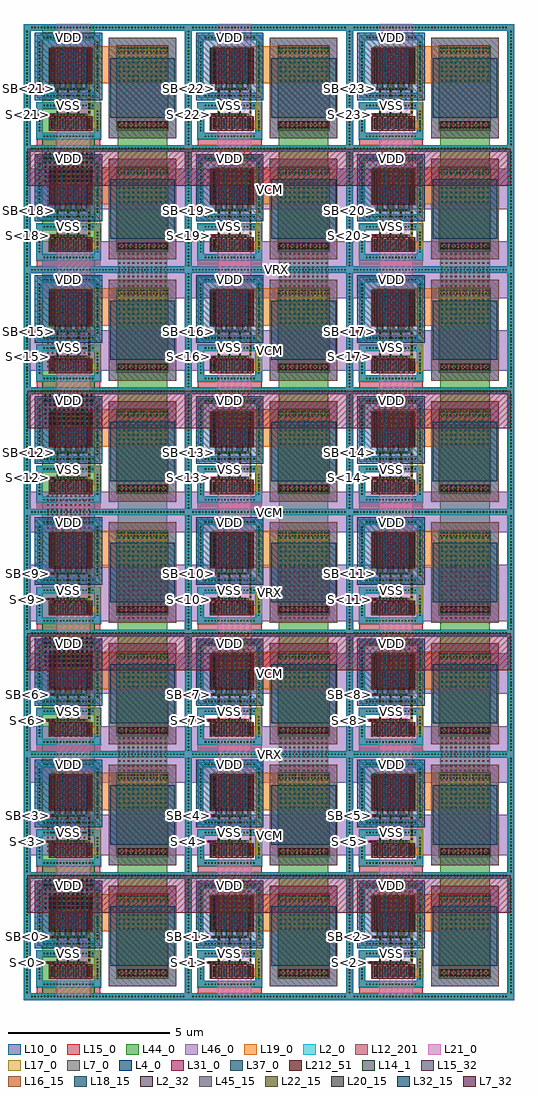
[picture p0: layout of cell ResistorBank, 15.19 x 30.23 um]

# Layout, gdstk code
import gdstk
lib = gdstk.Library(unit=1e-6, precision=1e-09)
def R(c, l, rs):  # rectangles x0, y0, x1, y1
    for r in rs: c.add(gdstk.rectangle(r[:2], r[2:], *l))
def A(c, l, x, y, w, h, nx, ny, dx, dy):  # array of equal rectangles
    R(c, l, [(x+i*dx, y+j*dy, x+i*dx+w, y+j*dy+h) for i in range(nx) for j in range(ny)])
L2_0 = (2, 0)
L2_32 = (2, 32)
L4_0 = (4, 0)
L7_0 = (7, 0)
L7_32 = (7, 32)
L10_0 = (10, 0)
L12_201 = (12, 201)
L14_1 = (14, 1)
L15_0 = (15, 0)
L15_32 = (15, 32)
L16_15 = (16, 15)
L17_0 = (17, 0)
L18_15 = (18, 15)
L19_0 = (19, 0)
L20_15 = (20, 15)
L21_0 = (21, 0)
L22_15 = (22, 15)
L31_0 = (31, 0)
L32_15 = (32, 15)
L37_0 = (37, 0)
L44_0 = (44, 0)
L45_15 = (45, 15)
L46_0 = (46, 0)
L212_51 = (212, 51)

nmosintransmissiongate = lib.new_cell('NMOSInTransmissionGate')
R(nmosintransmissiongate, L2_0, [(-0.602,-0.168,0.602,0.168)])
R(nmosintransmissiongate, L2_32, [(-0.602,-0.168,-0.517,0.168), (0.517,-0.168,0.602,0.168)])
A(nmosintransmissiongate, L7_0, -0.681, -0.225, 0.05, 0.45, 9, 1, 0.164, 0)
A(nmosintransmissiongate, L7_32, -0.517, -0.225, 0.05, 0.057, 7, 1, 0.164, 0)
A(nmosintransmissiongate, L14_1, -0.594, -0.12, 0.04, 0.04, 8, 3, 0.164, 0.1)
A(nmosintransmissiongate, L15_0, -0.599, -0.168, 0.05, 0.336, 8, 1, 0.164, 0)
A(nmosintransmissiongate, L15_32, -0.599, -0.168, 0.05, 0.336, 8, 1, 0.164, 0)
R(nmosintransmissiongate, L212_51, [(-0.656,-0.224,0.656,0.224)])

pmosintransmissiongate = lib.new_cell('PMOSInTransmissionGate')
R(pmosintransmissiongate, L2_0, [(-0.602,-0.504,0.602,0.504)])
R(pmosintransmissiongate, L2_32, [(-0.602,-0.504,-0.517,0.504), (0.517,-0.504,0.602,0.504)])
A(pmosintransmissiongate, L7_0, -0.681, -0.561, 0.05, 1.122, 9, 1, 0.164, 0)
A(pmosintransmissiongate, L7_32, -0.517, -0.561, 0.05, 0.057, 7, 1, 0.164, 0)
R(pmosintransmissiongate, L10_0, [(-0.658,-0.561,0.658,0.561)])
A(pmosintransmissiongate, L14_1, -0.594, -0.47, 0.04, 0.04, 8, 10, 0.164, 0.1)
A(pmosintransmissiongate, L15_0, -0.599, -0.504, 0.05, 1.008, 8, 1, 0.164, 0)
A(pmosintransmissiongate, L15_32, -0.599, -0.504, 0.05, 1.008, 8, 1, 0.164, 0)
R(pmosintransmissiongate, L212_51, [(-0.656,-0.56,0.656,0.56)])

viamet12met2onpmosoutput = lib.new_cell('ViaMet12Met2OnPMOSOutputInTransmissionGate')
R(viamet12met2onpmosoutput, L15_0, [(-0.025,-0.577,0.025,0.577)])
A(viamet12met2onpmosoutput, L16_15, -0.025, -0.545, 0.05, 0.05, 1, 9, 0, 0.13)
R(viamet12met2onpmosoutput, L17_0, [(-0.025,-0.577,0.025,0.577)])

viamet22met3onpmosoutput = lib.new_cell('ViaMet22Met3OnPMOSOutputInTransmissionGate')
R(viamet22met3onpmosoutput, L17_0, [(-0.025,-0.577,0.025,0.577)])
A(viamet22met3onpmosoutput, L18_15, -0.025, -0.545, 0.05, 0.05, 1, 9, 0, 0.13)
R(viamet22met3onpmosoutput, L19_0, [(-0.025,-0.577,0.025,0.577)])

viamet12met2onnmosoutput = lib.new_cell('ViaMet12Met2OnNMOSOutputInTransmissionGate')
R(viamet12met2onnmosoutput, L15_0, [(-0.025,-0.122,0.025,0.122)])
R(viamet12met2onnmosoutput, L16_15, [(-0.025,-0.09,0.025,-0.04), (-0.025,0.04,0.025,0.09)])
R(viamet12met2onnmosoutput, L17_0, [(-0.025,-0.122,0.025,0.122)])

viamet22met3onnmosoutput = lib.new_cell('ViaMet22Met3OnNMOSOutputInTransmissionGate')
R(viamet22met3onnmosoutput, L17_0, [(-0.025,-0.122,0.025,0.122)])
R(viamet22met3onnmosoutput, L18_15, [(-0.025,-0.09,0.025,-0.04), (-0.025,0.04,0.025,0.09)])
R(viamet22met3onnmosoutput, L19_0, [(-0.025,-0.122,0.025,0.122)])

viapoly2met1onpmoscontro = lib.new_cell('ViaPoly2Met1OnPMOSControlInTransmissionGate')
R(viapoly2met1onpmoscontro, L7_0, [(-0.43,-0.03,0.43,0.03)])
A(viapoly2met1onpmoscontro, L14_1, -0.42, -0.02, 0.04, 0.04, 9, 1, 0.1, 0)
R(viapoly2met1onpmoscontro, L15_0, [(-0.441,-0.041,0.441,0.041)])

viapoly2met1onnmoscontro = lib.new_cell('ViaPoly2Met1OnNMOSControlInTransmissionGate')
R(viapoly2met1onnmoscontro, L7_0, [(-0.43,-0.03,0.43,0.03)])
A(viapoly2met1onnmoscontro, L14_1, -0.42, -0.02, 0.04, 0.04, 9, 1, 0.1, 0)
R(viapoly2met1onnmoscontro, L15_0, [(-0.441,-0.041,0.441,0.041)])

transmissiongateinresist = lib.new_cell('TransmissionGateInResistorBank')
transmissiongateinresist.add(gdstk.FlexPath([(-0.492,0.393),(-0.492,0.702)], 0.05, ends="flush", simple_path=True, layer=7, datatype=0))  # L7_0
transmissiongateinresist.add(gdstk.FlexPath([(-0.328,0.393),(-0.328,0.702)], 0.05, ends="flush", simple_path=True, layer=7, datatype=0))  # L7_0
transmissiongateinresist.add(gdstk.FlexPath([(-0.164,0.393),(-0.164,0.702)], 0.05, ends="flush", simple_path=True, layer=7, datatype=0))  # L7_0
transmissiongateinresist.add(gdstk.FlexPath([(0,0.393),(0,0.702)], 0.05, ends="flush", simple_path=True, layer=7, datatype=0))  # L7_0
transmissiongateinresist.add(gdstk.FlexPath([(0.164,0.393),(0.164,0.702)], 0.05, ends="flush", simple_path=True, layer=7, datatype=0))  # L7_0
transmissiongateinresist.add(gdstk.FlexPath([(0.328,0.393),(0.328,0.702)], 0.05, ends="flush", simple_path=True, layer=7, datatype=0))  # L7_0
transmissiongateinresist.add(gdstk.FlexPath([(0.492,0.393),(0.492,0.702)], 0.05, ends="flush", simple_path=True, layer=7, datatype=0))  # L7_0
transmissiongateinresist.add(gdstk.FlexPath([(-0.492,2.185),(-0.492,1.435)], 0.05, ends="flush", simple_path=True, layer=7, datatype=0))  # L7_0
transmissiongateinresist.add(gdstk.FlexPath([(-0.328,2.185),(-0.328,1.435)], 0.05, ends="flush", simple_path=True, layer=7, datatype=0))  # L7_0
transmissiongateinresist.add(gdstk.FlexPath([(-0.164,2.185),(-0.164,1.435)], 0.05, ends="flush", simple_path=True, layer=7, datatype=0))  # L7_0
transmissiongateinresist.add(gdstk.FlexPath([(0,2.185),(0,1.435)], 0.05, ends="flush", simple_path=True, layer=7, datatype=0))  # L7_0
transmissiongateinresist.add(gdstk.FlexPath([(0.164,2.185),(0.164,1.435)], 0.05, ends="flush", simple_path=True, layer=7, datatype=0))  # L7_0
transmissiongateinresist.add(gdstk.FlexPath([(0.328,2.185),(0.328,1.435)], 0.05, ends="flush", simple_path=True, layer=7, datatype=0))  # L7_0
transmissiongateinresist.add(gdstk.FlexPath([(0.492,2.185),(0.492,1.435)], 0.05, ends="flush", simple_path=True, layer=7, datatype=0))  # L7_0
transmissiongateinresist.add(gdstk.FlexPath([(-0.492,0.672),(0.492,0.672)], 0.06, ends="flush", simple_path=True, layer=7, datatype=0))  # L7_0
transmissiongateinresist.add(gdstk.FlexPath([(-0.492,1.465),(0.492,1.465)], 0.06, ends="flush", simple_path=True, layer=7, datatype=0))  # L7_0
transmissiongateinresist.add(gdstk.Reference(nmosintransmissiongate, (0,0.393), x_reflection=True))
transmissiongateinresist.add(gdstk.Reference(pmosintransmissiongate, (0,2.185)))
transmissiongateinresist.add(gdstk.Reference(viamet12met2onpmosoutput, (-0.41,2.153)))
transmissiongateinresist.add(gdstk.Reference(viamet12met2onpmosoutput, (-0.082,2.153)))
transmissiongateinresist.add(gdstk.Reference(viamet12met2onpmosoutput, (0.246,2.153)))
transmissiongateinresist.add(gdstk.Reference(viamet12met2onpmosoutput, (0.574,2.153)))
transmissiongateinresist.add(gdstk.Reference(viamet12met2onpmosoutput, (-0.574,2.217)))
transmissiongateinresist.add(gdstk.Reference(viamet12met2onpmosoutput, (-0.246,2.217)))
transmissiongateinresist.add(gdstk.Reference(viamet12met2onpmosoutput, (0.082,2.217)))
transmissiongateinresist.add(gdstk.Reference(viamet12met2onpmosoutput, (0.41,2.217)))
transmissiongateinresist.add(gdstk.Reference(viamet22met3onpmosoutput, (-0.574,2.217)))
transmissiongateinresist.add(gdstk.Reference(viamet22met3onpmosoutput, (-0.246,2.217)))
transmissiongateinresist.add(gdstk.Reference(viamet22met3onpmosoutput, (0.082,2.217)))
transmissiongateinresist.add(gdstk.Reference(viamet22met3onpmosoutput, (0.41,2.217)))
transmissiongateinresist.add(gdstk.Reference(viamet12met2onnmosoutput, (-0.41,0.425)))
transmissiongateinresist.add(gdstk.Reference(viamet12met2onnmosoutput, (-0.082,0.425)))
transmissiongateinresist.add(gdstk.Reference(viamet12met2onnmosoutput, (0.246,0.425)))
transmissiongateinresist.add(gdstk.Reference(viamet12met2onnmosoutput, (0.574,0.425)))
transmissiongateinresist.add(gdstk.Reference(viamet12met2onnmosoutput, (-0.574,0.361)))
transmissiongateinresist.add(gdstk.Reference(viamet12met2onnmosoutput, (-0.246,0.361)))
transmissiongateinresist.add(gdstk.Reference(viamet12met2onnmosoutput, (0.082,0.361)))
transmissiongateinresist.add(gdstk.Reference(viamet12met2onnmosoutput, (0.41,0.361)))
transmissiongateinresist.add(gdstk.Reference(viamet22met3onnmosoutput, (-0.574,0.361)))
transmissiongateinresist.add(gdstk.Reference(viamet22met3onnmosoutput, (-0.246,0.361)))
transmissiongateinresist.add(gdstk.Reference(viamet22met3onnmosoutput, (0.082,0.361)))
transmissiongateinresist.add(gdstk.Reference(viamet22met3onnmosoutput, (0.41,0.361)))
transmissiongateinresist.add(gdstk.Reference(viapoly2met1onpmoscontro, (0,1.465)))
transmissiongateinresist.add(gdstk.Reference(viapoly2met1onnmoscontro, (0,0.672)))

viamet12met2oninputinres = lib.new_cell('ViaMet12Met2OnInputInResistorBank')
R(viamet12met2oninputinres, L15_0, [(-0.122,-0.025,0.122,0.025)])
R(viamet12met2oninputinres, L16_15, [(-0.09,-0.025,-0.04,0.025), (0.04,-0.025,0.09,0.025)])
R(viamet12met2oninputinres, L17_0, [(-0.122,-0.025,0.122,0.025)])

viamet22met3oninputinres = lib.new_cell('ViaMet22Met3OnInputInResistorBank')
R(viamet22met3oninputinres, L17_0, [(-0.122,-0.025,0.122,0.025)])
R(viamet22met3oninputinres, L18_15, [(-0.09,-0.025,-0.04,0.025), (0.04,-0.025,0.09,0.025)])
R(viamet22met3oninputinres, L19_0, [(-0.122,-0.025,0.122,0.025)])

viamet32met4oninputinres = lib.new_cell('ViaMet32Met4OnInputInResistorBank')
R(viamet32met4oninputinres, L19_0, [(-0.122,-0.025,0.122,0.025)])
R(viamet32met4oninputinres, L20_15, [(-0.09,-0.025,-0.04,0.025), (0.04,-0.025,0.09,0.025)])
R(viamet32met4oninputinres, L21_0, [(-0.122,-0.025,0.122,0.025)])

viamet42met5oninputinres = lib.new_cell('ViaMet42Met5OnInputInResistorBank')
R(viamet42met5oninputinres, L21_0, [(-0.122,-0.025,0.122,0.025)])
R(viamet42met5oninputinres, L22_15, [(-0.09,-0.025,-0.04,0.025), (0.04,-0.025,0.09,0.025)])
R(viamet42met5oninputinres, L31_0, [(-0.122,-0.025,0.122,0.025)])

opppcresinresistorbank = lib.new_cell('OpppcresInResistorBank')
R(opppcresinresistorbank, L7_0, [(-0.805,-1.318,0.805,1.318)])
R(opppcresinresistorbank, L10_0, [(-1.045,-1.558,1.045,1.558)])
R(opppcresinresistorbank, L12_201, [(-1.045,-1.558,1.045,1.558)])
A(opppcresinresistorbank, L14_1, -0.77, -1.258, 0.04, 0.04, 16, 2, 0.1, 0.1)
A(opppcresinresistorbank, L14_1, -0.77, 1.118, 0.04, 0.04, 16, 2, 0.1, 0.1)
R(opppcresinresistorbank, L15_0, [(-0.782,-1.27,0.782,-1.106), (-0.782,1.106,0.782,1.27)])
R(opppcresinresistorbank, L37_0, [(-1.005,-0.918,1.005,0.918)])

pmossubringinresistorban = lib.new_cell('PMOSSubringInResistorBank')
R(pmossubringinresistorban, L2_0, [(-0.985,-0.987,0.985,-0.817), (-0.985,-0.987,-0.815,0.987), (0.815,-0.987,0.985,0.987), (-0.985,0.817,0.985,0.987)])
A(pmossubringinresistorban, L14_1, -0.77, -0.922, 0.04, 0.04, 16, 2, 0.1, 1.804)
A(pmossubringinresistorban, L14_1, -0.92, -0.77, 0.04, 0.04, 1, 16, 0, 0.1)
A(pmossubringinresistorban, L14_1, 0.88, -0.77, 0.04, 0.04, 1, 16, 0, 0.1)
R(pmossubringinresistorban, L15_0, [(-0.985,-0.987,0.985,-0.817), (-0.985,-0.987,-0.815,0.987), (0.815,-0.987,0.985,0.987), (-0.985,0.817,0.985,0.987)])
pmossubringinresistorban.add(gdstk.FlexPath([(0.9,1.043),(0.9,-0.902),(-0.9,-0.902),(-0.9,0.902),(1.041,0.902)], 0.282, ends="flush", simple_path=True, layer=4, datatype=0))  # L4_0

nmossubringinresistorban = lib.new_cell('NMOSSubringInResistorBank')
R(nmossubringinresistorban, L2_0, [(-0.985,-0.559,0.985,-0.389), (-0.985,-0.559,-0.815,0.559), (0.815,-0.559,0.985,0.559), (-0.985,0.389,0.985,0.559)])
A(nmossubringinresistorban, L14_1, -0.77, -0.494, 0.04, 0.04, 16, 2, 0.1, 0.948)
A(nmossubringinresistorban, L14_1, -0.92, -0.32, 0.04, 0.04, 1, 7, 0, 0.1)
A(nmossubringinresistorban, L14_1, 0.88, -0.32, 0.04, 0.04, 1, 7, 0, 0.1)
R(nmossubringinresistorban, L15_0, [(-0.985,-0.559,0.985,-0.389), (-0.985,-0.559,-0.815,0.559), (0.815,-0.559,0.985,0.559), (-0.985,0.389,0.985,0.559)])
nmossubringinresistorban.add(gdstk.FlexPath([(0.9,0.58),(0.9,-0.474),(-0.9,-0.474),(-0.9,0.474),(1.006,0.474)], 0.212, ends="flush", simple_path=True, layer=10, datatype=0))  # L10_0

totalsubringinresistorba = lib.new_cell('TotalSubringInResistorBank')
R(totalsubringinresistorba, L2_0, [(-2.582,-1.961,2.582,-1.791), (-2.582,-1.961,-2.412,1.961), (2.412,-1.961,2.582,1.961), (-2.582,1.791,2.582,1.961)])
A(totalsubringinresistorba, L14_1, -2.37, -1.896, 0.04, 0.04, 48, 2, 0.1, 3.752)
A(totalsubringinresistorba, L14_1, -2.517, -1.77, 0.04, 0.04, 1, 36, 0, 0.1)
A(totalsubringinresistorba, L14_1, 2.477, -1.77, 0.04, 0.04, 1, 36, 0, 0.1)
R(totalsubringinresistorba, L15_0, [(-2.582,-1.961,2.582,-1.791), (-2.582,-1.961,-2.412,1.961), (2.412,-1.961,2.582,1.961), (-2.582,1.791,2.582,1.961)])
totalsubringinresistorba.add(gdstk.FlexPath([(2.497,1.982),(2.497,-1.876),(-2.497,-1.876),(-2.497,1.876),(2.603,1.876)], 0.212, ends="flush", simple_path=True, layer=10, datatype=0))  # L10_0

viamet12met2onresistorin = lib.new_cell('ViaMet12Met2OnResistorInResistorBank')
R(viamet12met2onresistorin, L15_0, [(-0.767,-0.522,0.767,0.522)])
A(viamet12met2onresistorin, L16_15, -0.735, -0.522, 0.05, 0.05, 11, 8, 0.142, 0.142)
R(viamet12met2onresistorin, L17_0, [(-0.767,-0.522,0.767,0.522)])

viamet12met2onresistor1i = lib.new_cell('ViaMet12Met2OnResistor1InResistorBank')
R(viamet12met2onresistor1i, L15_0, [(-0.767,-0.096,0.767,0.096)])
A(viamet12met2onresistor1i, L16_15, -0.735, -0.096, 0.05, 0.05, 11, 2, 0.142, 0.142)
R(viamet12met2onresistor1i, L17_0, [(-0.767,-0.096,0.767,0.096)])

viamet22met3onresistorin = lib.new_cell('ViaMet22Met3OnResistorInResistorBank')
R(viamet22met3onresistorin, L17_0, [(-0.767,-0.522,0.767,0.522)])
A(viamet22met3onresistorin, L18_15, -0.735, -0.522, 0.05, 0.05, 11, 8, 0.142, 0.142)
R(viamet22met3onresistorin, L19_0, [(-0.767,-0.522,0.767,0.522)])

viamet22met3onresistor1i = lib.new_cell('ViaMet22Met3OnResistor1InResistorBank')
R(viamet22met3onresistor1i, L17_0, [(-0.767,-0.096,0.767,0.096)])
A(viamet22met3onresistor1i, L18_15, -0.735, -0.096, 0.05, 0.05, 11, 2, 0.142, 0.142)
R(viamet22met3onresistor1i, L19_0, [(-0.767,-0.096,0.767,0.096)])

viamet32met4onresistorin = lib.new_cell('ViaMet32Met4OnResistorInResistorBank')
R(viamet32met4onresistorin, L19_0, [(-0.767,-0.096,0.767,0.096)])
A(viamet32met4onresistorin, L20_15, -0.735, -0.096, 0.05, 0.05, 11, 2, 0.142, 0.142)
R(viamet32met4onresistorin, L21_0, [(-0.767,-0.096,0.767,0.096)])

viamet42met5onresistorin = lib.new_cell('ViaMet42Met5OnResistorInResistorBank')
R(viamet42met5onresistorin, L21_0, [(-0.767,-0.096,0.767,0.096)])
A(viamet42met5onresistorin, L22_15, -0.735, -0.096, 0.05, 0.05, 11, 2, 0.142, 0.142)
R(viamet42met5onresistorin, L31_0, [(-0.767,-0.096,0.767,0.096)])

viamet52met6onresistorin = lib.new_cell('ViaMet52Met6OnResistorInResistorBank')
R(viamet52met6onresistorin, L31_0, [(-0.767,-0.096,0.767,0.096)])
A(viamet52met6onresistorin, L32_15, -0.735, -0.096, 0.05, 0.05, 11, 2, 0.142, 0.142)
R(viamet52met6onresistorin, L44_0, [(-0.767,-0.096,0.767,0.096)])

viavcmmet22met3inresisto = lib.new_cell('ViaVCMMet22Met3InResistorBank')
R(viavcmmet22met3inresisto, L17_0, [(-0.025,-0.382,0.025,0.382)])
A(viavcmmet22met3inresisto, L18_15, -0.025, -0.35, 0.05, 0.05, 1, 6, 0, 0.13)
R(viavcmmet22met3inresisto, L19_0, [(-0.025,-0.382,0.025,0.382)])

viavcmmet32met4inresisto = lib.new_cell('ViaVCMMet32Met4InResistorBank')
R(viavcmmet32met4inresisto, L19_0, [(-0.025,-0.382,0.025,0.382)])
A(viavcmmet32met4inresisto, L20_15, -0.025, -0.35, 0.05, 0.05, 1, 6, 0, 0.13)
R(viavcmmet32met4inresisto, L21_0, [(-0.025,-0.382,0.025,0.382)])

viatgpmos2resmet22met3in = lib.new_cell('ViaTGPMOS2ResMet22Met3InResistorBank')
R(viatgpmos2resmet22met3in, L17_0, [(-0.057,-0.545,0.057,0.545)])
A(viatgpmos2resmet22met3in, L18_15, -0.025, -0.545, 0.05, 0.05, 1, 9, 0, 0.13)
R(viatgpmos2resmet22met3in, L19_0, [(-0.057,-0.545,0.057,0.545)])

viatgnmos2resmet22met3in = lib.new_cell('ViaTGNMOS2ResMet22Met3InResistorBank')
R(viatgnmos2resmet22met3in, L17_0, [(-0.057,-0.09,0.057,0.09)])
R(viatgnmos2resmet22met3in, L18_15, [(-0.025,-0.09,0.025,-0.04), (-0.025,0.04,0.025,0.09)])
R(viatgnmos2resmet22met3in, L19_0, [(-0.057,-0.09,0.057,0.09)])

resistorbankinfullresist = lib.new_cell('ResistorBankInFullResistorBank')
R(resistorbankinfullresist, L15_0, [(-1.053,-0.467,0.917,0.085)])
A(resistorbankinfullresist, L17_0, -0.435, 0.303, 0.05, 2.428, 4, 1, 0.328, 0)
R(resistorbankinfullresist, L21_0, [(-0.41,0.686,0.574,1.45)])
resistorbankinfullresist.add(gdstk.FlexPath([(-0.623,1.465),(-1.35,1.465)], 0.05, ends="flush", simple_path=True, layer=31, datatype=0))  # L31_0
resistorbankinfullresist.add(gdstk.FlexPath([(-0.623,0.672),(-1.35,0.672)], 0.05, ends="flush", simple_path=True, layer=31, datatype=0))  # L31_0
resistorbankinfullresist.add(gdstk.FlexPath([(-0.883,2.158),(0.747,2.158)], 1.634, ends="flush", simple_path=True, layer=4, datatype=0))  # L4_0
resistorbankinfullresist.add(gdstk.FlexPath([(-0.745,1.465),(0,1.465)], 0.082, ends="flush", simple_path=True, layer=15, datatype=0))  # L15_0
resistorbankinfullresist.add(gdstk.FlexPath([(-0.745,0.672),(0,0.672)], 0.082, ends="flush", simple_path=True, layer=15, datatype=0))  # L15_0
resistorbankinfullresist.add(gdstk.FlexPath([(2.222,1.695),(2.222,2.764)], 1.564, ends="flush", simple_path=True, layer=15, datatype=0))  # L15_0
resistorbankinfullresist.add(gdstk.FlexPath([(2.222,0.457),(2.222,0.224)], 1.564, ends="flush", simple_path=True, layer=15, datatype=0))  # L15_0
resistorbankinfullresist.add(gdstk.FlexPath([(-0.574,2.217),(2.989,2.217)], 1.154, ends="flush", simple_path=True, layer=19, datatype=0))  # L19_0
resistorbankinfullresist.add(gdstk.FlexPath([(-0.574,0.361),(0.917,0.361)], 0.244, ends="flush", simple_path=True, layer=19, datatype=0))  # L19_0
resistorbankinfullresist.add(gdstk.FlexPath([(0.832,2.794),(0.832,0.239)], 0.17, ends="flush", simple_path=True, layer=17, datatype=0))  # L17_0
resistorbankinfullresist.add(gdstk.Reference(transmissiongateinresist, (0,0)))
resistorbankinfullresist.add(gdstk.Reference(viamet12met2oninputinres, (-0.623,1.465)))
resistorbankinfullresist.add(gdstk.Reference(viamet12met2oninputinres, (-0.623,0.672)))
resistorbankinfullresist.add(gdstk.Reference(viamet22met3oninputinres, (-0.623,1.465)))
resistorbankinfullresist.add(gdstk.Reference(viamet22met3oninputinres, (-0.623,0.672)))
resistorbankinfullresist.add(gdstk.Reference(viamet32met4oninputinres, (-0.623,1.465)))
resistorbankinfullresist.add(gdstk.Reference(viamet32met4oninputinres, (-0.623,0.672)))
resistorbankinfullresist.add(gdstk.Reference(viamet42met5oninputinres, (-0.623,1.465)))
resistorbankinfullresist.add(gdstk.Reference(viamet42met5oninputinres, (-0.623,0.672)))
resistorbankinfullresist.add(gdstk.Reference(opppcresinresistorbank, (2.222,1.494)))
resistorbankinfullresist.add(gdstk.Reference(pmossubringinresistorban, (-0.068,2.158)))
resistorbankinfullresist.add(gdstk.Reference(nmossubringinresistorban, (-0.068,0.474)))
resistorbankinfullresist.add(gdstk.Reference(totalsubringinresistorba, (1.147,1.494)))
resistorbankinfullresist.add(gdstk.Reference(viamet12met2onresistorin, (2.222,2.217)))
resistorbankinfullresist.add(gdstk.Reference(viamet12met2onresistor1i, (2.222,0.361)))
resistorbankinfullresist.add(gdstk.Reference(viamet22met3onresistorin, (2.222,2.217)))
resistorbankinfullresist.add(gdstk.Reference(viamet22met3onresistor1i, (2.222,0.361)))
resistorbankinfullresist.add(gdstk.Reference(viamet32met4onresistorin, (2.222,0.361)))
resistorbankinfullresist.add(gdstk.Reference(viamet42met5onresistorin, (2.222,0.361)))
resistorbankinfullresist.add(gdstk.Reference(viamet52met6onresistorin, (2.222,0.361)))
resistorbankinfullresist.add(gdstk.Reference(viavcmmet22met3inresisto, (-0.41,1.068)))
resistorbankinfullresist.add(gdstk.Reference(viavcmmet22met3inresisto, (-0.082,1.068)))
resistorbankinfullresist.add(gdstk.Reference(viavcmmet22met3inresisto, (0.246,1.068)))
resistorbankinfullresist.add(gdstk.Reference(viavcmmet22met3inresisto, (0.574,1.068)))
resistorbankinfullresist.add(gdstk.Reference(viavcmmet32met4inresisto, (-0.41,1.068)))
resistorbankinfullresist.add(gdstk.Reference(viavcmmet32met4inresisto, (-0.082,1.068)))
resistorbankinfullresist.add(gdstk.Reference(viavcmmet32met4inresisto, (0.246,1.068)))
resistorbankinfullresist.add(gdstk.Reference(viavcmmet32met4inresisto, (0.574,1.068)))
resistorbankinfullresist.add(gdstk.Reference(viatgpmos2resmet22met3in, (0.832,2.217)))
resistorbankinfullresist.add(gdstk.Reference(viatgnmos2resmet22met3in, (0.832,0.361)))
resistorbankinfullresist.add(gdstk.Label('VDD', (-0.068,3.06), layer=15, texttype=20))
resistorbankinfullresist.add(gdstk.Label('VSS', (-0.068,-0.191), layer=15, texttype=20))
resistorbankinfullresist.add(gdstk.Label('S', (-1.35,0.672), layer=31, texttype=20))
resistorbankinfullresist.add(gdstk.Label('SB', (-1.35,1.465), layer=31, texttype=20))
resistorbankinfullresist.add(gdstk.Label('VRX', (2.222,0.361), layer=44, texttype=20))
resistorbankinfullresist.add(gdstk.Label('VCM', (0.082,1.068), layer=21, texttype=20))

viamet42met5onvcminfullr = lib.new_cell('ViaMet42Met5OnVCMInFullResistorBank')
R(viamet42met5onvcminfullr, L21_0, [(-0.451,-0.554,0.451,0.554)])
A(viamet42met5onvcminfullr, L22_15, -0.451, -0.522, 0.05, 0.05, 7, 8, 0.142, 0.142)
R(viamet42met5onvcminfullr, L31_0, [(-0.451,-0.554,0.451,0.554)])

viamet52met6onvcminfullr = lib.new_cell('ViaMet52Met6OnVCMInFullResistorBank')
R(viamet52met6onvcminfullr, L31_0, [(-0.735,-0.483,0.735,0.483)])
A(viamet52met6onvcminfullr, L32_15, -0.735, -0.451, 0.05, 0.05, 11, 7, 0.142, 0.142)
R(viamet52met6onvcminfullr, L44_0, [(-0.735,-0.483,0.735,0.483)])

viamet62met7onvrxinfullr = lib.new_cell('ViaMet62Met7OnVRXInFullResistorBank')
R(viamet62met7onvrxinfullr, L44_0, [(-0.735,-0.838,0.735,0.838)])
A(viamet62met7onvrxinfullr, L45_15, -0.735, -0.806, 0.05, 0.05, 11, 12, 0.142, 0.142)
R(viamet62met7onvrxinfullr, L46_0, [(-0.735,-0.838,0.735,0.838)])

viamet62met7onvcminfullr = lib.new_cell('ViaMet62Met7OnVCMInFullResistorBank')
R(viamet62met7onvcminfullr, L44_0, [(-0.696,-0.522,0.696,0.522)])
A(viamet62met7onvcminfullr, L45_15, -0.664, -0.522, 0.05, 0.05, 10, 8, 0.142, 0.142)
R(viamet62met7onvcminfullr, L46_0, [(-0.696,-0.522,0.696,0.522)])

resistorbank = lib.new_cell('ResistorBank')
resistorbank.add(gdstk.FlexPath([(0.082,-0.382),(0.082,29.72)], 1.034, ends="flush", simple_path=True, layer=21, datatype=0))  # L21_0
resistorbank.add(gdstk.FlexPath([(5.076,-0.382),(5.076,29.72)], 1.034, ends="flush", simple_path=True, layer=21, datatype=0))  # L21_0
resistorbank.add(gdstk.FlexPath([(10.07,-0.382),(10.07,29.72)], 1.034, ends="flush", simple_path=True, layer=21, datatype=0))  # L21_0
resistorbank.add(gdstk.FlexPath([(-1.35,2.794),(13.632,2.794)], 1.154, ends="flush", simple_path=True, layer=31, datatype=0))  # L31_0
resistorbank.add(gdstk.FlexPath([(-1.35,10.298),(13.632,10.298)], 1.154, ends="flush", simple_path=True, layer=31, datatype=0))  # L31_0
resistorbank.add(gdstk.FlexPath([(-1.35,17.802),(13.632,17.802)], 1.154, ends="flush", simple_path=True, layer=31, datatype=0))  # L31_0
resistorbank.add(gdstk.FlexPath([(-1.35,25.306),(13.632,25.306)], 1.154, ends="flush", simple_path=True, layer=31, datatype=0))  # L31_0
resistorbank.add(gdstk.FlexPath([(-0.068,-0.382),(-0.068,29.72)], 1.63, ends="flush", simple_path=True, layer=44, datatype=0))  # L44_0
resistorbank.add(gdstk.FlexPath([(2.222,0.361),(2.222,26.625)], 1.534, ends="flush", simple_path=True, layer=44, datatype=0))  # L44_0
resistorbank.add(gdstk.FlexPath([(7.216,0.361),(7.216,26.625)], 1.534, ends="flush", simple_path=True, layer=44, datatype=0))  # L44_0
resistorbank.add(gdstk.FlexPath([(12.21,0.361),(12.21,26.625)], 1.534, ends="flush", simple_path=True, layer=44, datatype=0))  # L44_0
resistorbank.add(gdstk.FlexPath([(-1.35,4.62),(13.632,4.62)], 1.25, ends="flush", simple_path=True, layer=46, datatype=0))  # L46_0
resistorbank.add(gdstk.FlexPath([(-1.35,9.622),(13.632,9.622)], 1.25, ends="flush", simple_path=True, layer=46, datatype=0))  # L46_0
resistorbank.add(gdstk.FlexPath([(-1.35,14.624),(13.632,14.624)], 1.25, ends="flush", simple_path=True, layer=46, datatype=0))  # L46_0
resistorbank.add(gdstk.FlexPath([(-1.35,19.626),(13.632,19.626)], 1.25, ends="flush", simple_path=True, layer=46, datatype=0))  # L46_0
resistorbank.add(gdstk.FlexPath([(-1.35,24.628),(13.632,24.628)], 1.25, ends="flush", simple_path=True, layer=46, datatype=0))  # L46_0
resistorbank.add(gdstk.FlexPath([(-1.35,7.122),(13.632,7.122)], 1.752, ends="flush", simple_path=True, layer=46, datatype=0))  # L46_0
resistorbank.add(gdstk.FlexPath([(-1.35,12.124),(13.632,12.124)], 1.752, ends="flush", simple_path=True, layer=46, datatype=0))  # L46_0
resistorbank.add(gdstk.FlexPath([(-0.883,22.128),(13.632,22.128)], 1.752, ends="flush", simple_path=True, layer=46, datatype=0))  # L46_0
resistorbank.add(gdstk.Reference(resistorbankinfullresist, (0,0)))
resistorbank.add(gdstk.Reference(resistorbankinfullresist, (0,3.752)))
resistorbank.add(gdstk.Reference(resistorbankinfullresist, (0,7.504)))
resistorbank.add(gdstk.Reference(resistorbankinfullresist, (0,11.256)))
resistorbank.add(gdstk.Reference(resistorbankinfullresist, (0,15.008)))
resistorbank.add(gdstk.Reference(resistorbankinfullresist, (0,18.76)))
resistorbank.add(gdstk.Reference(resistorbankinfullresist, (0,22.512)))
resistorbank.add(gdstk.Reference(resistorbankinfullresist, (0,26.264)))
resistorbank.add(gdstk.Reference(resistorbankinfullresist, (4.994,0)))
resistorbank.add(gdstk.Reference(resistorbankinfullresist, (4.994,3.752)))
resistorbank.add(gdstk.Reference(resistorbankinfullresist, (4.994,7.504)))
resistorbank.add(gdstk.Reference(resistorbankinfullresist, (4.994,11.256)))
resistorbank.add(gdstk.Reference(resistorbankinfullresist, (4.994,15.008)))
resistorbank.add(gdstk.Reference(resistorbankinfullresist, (4.994,18.76)))
resistorbank.add(gdstk.Reference(resistorbankinfullresist, (4.994,22.512)))
resistorbank.add(gdstk.Reference(resistorbankinfullresist, (4.994,26.264)))
resistorbank.add(gdstk.Reference(resistorbankinfullresist, (9.988,0)))
resistorbank.add(gdstk.Reference(resistorbankinfullresist, (9.988,3.752)))
resistorbank.add(gdstk.Reference(resistorbankinfullresist, (9.988,7.504)))
resistorbank.add(gdstk.Reference(resistorbankinfullresist, (9.988,11.256)))
resistorbank.add(gdstk.Reference(resistorbankinfullresist, (9.988,15.008)))
resistorbank.add(gdstk.Reference(resistorbankinfullresist, (9.988,18.76)))
resistorbank.add(gdstk.Reference(resistorbankinfullresist, (9.988,22.512)))
resistorbank.add(gdstk.Reference(resistorbankinfullresist, (9.988,26.264)))
resistorbank.add(gdstk.Reference(viamet42met5onvcminfullr, (0.082,2.794)))
resistorbank.add(gdstk.Reference(viamet42met5onvcminfullr, (0.082,10.298)))
resistorbank.add(gdstk.Reference(viamet42met5onvcminfullr, (0.082,17.802)))
resistorbank.add(gdstk.Reference(viamet42met5onvcminfullr, (0.082,25.306)))
resistorbank.add(gdstk.Reference(viamet42met5onvcminfullr, (5.076,2.794)))
resistorbank.add(gdstk.Reference(viamet42met5onvcminfullr, (5.076,10.298)))
resistorbank.add(gdstk.Reference(viamet42met5onvcminfullr, (5.076,17.802)))
resistorbank.add(gdstk.Reference(viamet42met5onvcminfullr, (5.076,25.306)))
resistorbank.add(gdstk.Reference(viamet42met5onvcminfullr, (10.07,2.794)))
resistorbank.add(gdstk.Reference(viamet42met5onvcminfullr, (10.07,10.298)))
resistorbank.add(gdstk.Reference(viamet42met5onvcminfullr, (10.07,17.802)))
resistorbank.add(gdstk.Reference(viamet42met5onvcminfullr, (10.07,25.306)))
resistorbank.add(gdstk.Reference(viamet52met6onvcminfullr, (-0.068,2.794)))
resistorbank.add(gdstk.Reference(viamet52met6onvcminfullr, (-0.068,10.298)))
resistorbank.add(gdstk.Reference(viamet52met6onvcminfullr, (-0.068,17.802)))
resistorbank.add(gdstk.Reference(viamet52met6onvcminfullr, (-0.068,25.306)))
resistorbank.add(gdstk.Reference(viamet62met7onvrxinfullr, (2.222,7.122)))
resistorbank.add(gdstk.Reference(viamet62met7onvrxinfullr, (2.222,12.124)))
resistorbank.add(gdstk.Reference(viamet62met7onvrxinfullr, (2.222,22.128)))
resistorbank.add(gdstk.Reference(viamet62met7onvrxinfullr, (7.216,7.122)))
resistorbank.add(gdstk.Reference(viamet62met7onvrxinfullr, (7.216,12.124)))
resistorbank.add(gdstk.Reference(viamet62met7onvrxinfullr, (7.216,22.128)))
resistorbank.add(gdstk.Reference(viamet62met7onvrxinfullr, (12.21,7.122)))
resistorbank.add(gdstk.Reference(viamet62met7onvrxinfullr, (12.21,12.124)))
resistorbank.add(gdstk.Reference(viamet62met7onvrxinfullr, (12.21,22.128)))
resistorbank.add(gdstk.Reference(viamet62met7onvcminfullr, (-0.068,4.62)))
resistorbank.add(gdstk.Reference(viamet62met7onvcminfullr, (-0.068,9.622)))
resistorbank.add(gdstk.Reference(viamet62met7onvcminfullr, (-0.068,14.624)))
resistorbank.add(gdstk.Reference(viamet62met7onvcminfullr, (-0.068,19.626)))
resistorbank.add(gdstk.Reference(viamet62met7onvcminfullr, (-0.068,24.628)))
resistorbank.add(gdstk.Label('S<0>', (-1.35,0.672), layer=31, texttype=20))
resistorbank.add(gdstk.Label('SB<0>', (-1.35,1.465), layer=31, texttype=20))
resistorbank.add(gdstk.Label('S<3>', (-1.35,4.424), layer=31, texttype=20))
resistorbank.add(gdstk.Label('SB<3>', (-1.35,5.217), layer=31, texttype=20))
resistorbank.add(gdstk.Label('S<6>', (-1.35,8.176), layer=31, texttype=20))
resistorbank.add(gdstk.Label('SB<6>', (-1.35,8.969), layer=31, texttype=20))
resistorbank.add(gdstk.Label('S<9>', (-1.35,11.928), layer=31, texttype=20))
resistorbank.add(gdstk.Label('SB<9>', (-1.35,12.721), layer=31, texttype=20))
resistorbank.add(gdstk.Label('S<12>', (-1.35,15.68), layer=31, texttype=20))
resistorbank.add(gdstk.Label('SB<12>', (-1.35,16.473), layer=31, texttype=20))
resistorbank.add(gdstk.Label('S<15>', (-1.35,19.432), layer=31, texttype=20))
resistorbank.add(gdstk.Label('SB<15>', (-1.35,20.225), layer=31, texttype=20))
resistorbank.add(gdstk.Label('S<18>', (-1.35,23.184), layer=31, texttype=20))
resistorbank.add(gdstk.Label('SB<18>', (-1.35,23.977), layer=31, texttype=20))
resistorbank.add(gdstk.Label('S<21>', (-1.35,26.936), layer=31, texttype=20))
resistorbank.add(gdstk.Label('SB<21>', (-1.35,27.729), layer=31, texttype=20))
resistorbank.add(gdstk.Label('S<1>', (3.644,0.672), layer=31, texttype=20))
resistorbank.add(gdstk.Label('SB<1>', (3.644,1.465), layer=31, texttype=20))
resistorbank.add(gdstk.Label('S<4>', (3.644,4.424), layer=31, texttype=20))
resistorbank.add(gdstk.Label('SB<4>', (3.644,5.217), layer=31, texttype=20))
resistorbank.add(gdstk.Label('S<7>', (3.644,8.176), layer=31, texttype=20))
resistorbank.add(gdstk.Label('SB<7>', (3.644,8.969), layer=31, texttype=20))
resistorbank.add(gdstk.Label('S<10>', (3.644,11.928), layer=31, texttype=20))
resistorbank.add(gdstk.Label('SB<10>', (3.644,12.721), layer=31, texttype=20))
resistorbank.add(gdstk.Label('S<13>', (3.644,15.68), layer=31, texttype=20))
resistorbank.add(gdstk.Label('SB<13>', (3.644,16.473), layer=31, texttype=20))
resistorbank.add(gdstk.Label('S<16>', (3.644,19.432), layer=31, texttype=20))
resistorbank.add(gdstk.Label('SB<16>', (3.644,20.225), layer=31, texttype=20))
resistorbank.add(gdstk.Label('S<19>', (3.644,23.184), layer=31, texttype=20))
resistorbank.add(gdstk.Label('SB<19>', (3.644,23.977), layer=31, texttype=20))
resistorbank.add(gdstk.Label('S<22>', (3.644,26.936), layer=31, texttype=20))
resistorbank.add(gdstk.Label('SB<22>', (3.644,27.729), layer=31, texttype=20))
resistorbank.add(gdstk.Label('S<2>', (8.638,0.672), layer=31, texttype=20))
resistorbank.add(gdstk.Label('SB<2>', (8.638,1.465), layer=31, texttype=20))
resistorbank.add(gdstk.Label('S<5>', (8.638,4.424), layer=31, texttype=20))
resistorbank.add(gdstk.Label('SB<5>', (8.638,5.217), layer=31, texttype=20))
resistorbank.add(gdstk.Label('S<8>', (8.638,8.176), layer=31, texttype=20))
resistorbank.add(gdstk.Label('SB<8>', (8.638,8.969), layer=31, texttype=20))
resistorbank.add(gdstk.Label('S<11>', (8.638,11.928), layer=31, texttype=20))
resistorbank.add(gdstk.Label('SB<11>', (8.638,12.721), layer=31, texttype=20))
resistorbank.add(gdstk.Label('S<14>', (8.638,15.68), layer=31, texttype=20))
resistorbank.add(gdstk.Label('SB<14>', (8.638,16.473), layer=31, texttype=20))
resistorbank.add(gdstk.Label('S<17>', (8.638,19.432), layer=31, texttype=20))
resistorbank.add(gdstk.Label('SB<17>', (8.638,20.225), layer=31, texttype=20))
resistorbank.add(gdstk.Label('S<20>', (8.638,23.184), layer=31, texttype=20))
resistorbank.add(gdstk.Label('SB<20>', (8.638,23.977), layer=31, texttype=20))
resistorbank.add(gdstk.Label('S<23>', (8.638,26.936), layer=31, texttype=20))
resistorbank.add(gdstk.Label('SB<23>', (8.638,27.729), layer=31, texttype=20))
resistorbank.add(gdstk.Label('VRX', (6.141,7.122), layer=46, texttype=20))
resistorbank.add(gdstk.Label('VRX', (6.141,12.124), layer=46, texttype=20))
resistorbank.add(gdstk.Label('VRX', (6.374,22.128), layer=46, texttype=20))
resistorbank.add(gdstk.Label('VDD', (-0.068,3.06), layer=15, texttype=20))
resistorbank.add(gdstk.Label('VDD', (-0.068,6.812), layer=15, texttype=20))
resistorbank.add(gdstk.Label('VDD', (-0.068,10.564), layer=15, texttype=20))
resistorbank.add(gdstk.Label('VDD', (-0.068,14.316), layer=15, texttype=20))
resistorbank.add(gdstk.Label('VDD', (-0.068,18.068), layer=15, texttype=20))
resistorbank.add(gdstk.Label('VDD', (-0.068,21.82), layer=15, texttype=20))
resistorbank.add(gdstk.Label('VDD', (-0.068,25.572), layer=15, texttype=20))
resistorbank.add(gdstk.Label('VDD', (-0.068,29.324), layer=15, texttype=20))
resistorbank.add(gdstk.Label('VDD', (4.926,3.06), layer=15, texttype=20))
resistorbank.add(gdstk.Label('VDD', (4.926,6.812), layer=15, texttype=20))
resistorbank.add(gdstk.Label('VDD', (4.926,10.564), layer=15, texttype=20))
resistorbank.add(gdstk.Label('VDD', (4.926,14.316), layer=15, texttype=20))
resistorbank.add(gdstk.Label('VDD', (4.926,18.068), layer=15, texttype=20))
resistorbank.add(gdstk.Label('VDD', (4.926,21.82), layer=15, texttype=20))
resistorbank.add(gdstk.Label('VDD', (4.926,25.572), layer=15, texttype=20))
resistorbank.add(gdstk.Label('VDD', (4.926,29.324), layer=15, texttype=20))
resistorbank.add(gdstk.Label('VDD', (9.92,3.06), layer=15, texttype=20))
resistorbank.add(gdstk.Label('VDD', (9.92,6.812), layer=15, texttype=20))
resistorbank.add(gdstk.Label('VDD', (9.92,10.564), layer=15, texttype=20))
resistorbank.add(gdstk.Label('VDD', (9.92,14.316), layer=15, texttype=20))
resistorbank.add(gdstk.Label('VDD', (9.92,18.068), layer=15, texttype=20))
resistorbank.add(gdstk.Label('VDD', (9.92,21.82), layer=15, texttype=20))
resistorbank.add(gdstk.Label('VDD', (9.92,25.572), layer=15, texttype=20))
resistorbank.add(gdstk.Label('VDD', (9.92,29.324), layer=15, texttype=20))
resistorbank.add(gdstk.Label('VSS', (-0.068,0.948), layer=15, texttype=20))
resistorbank.add(gdstk.Label('VSS', (-0.068,4.7), layer=15, texttype=20))
resistorbank.add(gdstk.Label('VSS', (-0.068,8.452), layer=15, texttype=20))
resistorbank.add(gdstk.Label('VSS', (-0.068,12.204), layer=15, texttype=20))
resistorbank.add(gdstk.Label('VSS', (-0.068,15.956), layer=15, texttype=20))
resistorbank.add(gdstk.Label('VSS', (-0.068,19.708), layer=15, texttype=20))
resistorbank.add(gdstk.Label('VSS', (-0.068,23.46), layer=15, texttype=20))
resistorbank.add(gdstk.Label('VSS', (-0.068,27.212), layer=15, texttype=20))
resistorbank.add(gdstk.Label('VSS', (4.926,0.948), layer=15, texttype=20))
resistorbank.add(gdstk.Label('VSS', (4.926,4.7), layer=15, texttype=20))
resistorbank.add(gdstk.Label('VSS', (4.926,8.452), layer=15, texttype=20))
resistorbank.add(gdstk.Label('VSS', (4.926,12.204), layer=15, texttype=20))
resistorbank.add(gdstk.Label('VSS', (4.926,15.956), layer=15, texttype=20))
resistorbank.add(gdstk.Label('VSS', (4.926,19.708), layer=15, texttype=20))
resistorbank.add(gdstk.Label('VSS', (4.926,23.46), layer=15, texttype=20))
resistorbank.add(gdstk.Label('VSS', (4.926,27.212), layer=15, texttype=20))
resistorbank.add(gdstk.Label('VSS', (9.92,0.948), layer=15, texttype=20))
resistorbank.add(gdstk.Label('VSS', (9.92,4.7), layer=15, texttype=20))
resistorbank.add(gdstk.Label('VSS', (9.92,8.452), layer=15, texttype=20))
resistorbank.add(gdstk.Label('VSS', (9.92,12.204), layer=15, texttype=20))
resistorbank.add(gdstk.Label('VSS', (9.92,15.956), layer=15, texttype=20))
resistorbank.add(gdstk.Label('VSS', (9.92,19.708), layer=15, texttype=20))
resistorbank.add(gdstk.Label('VSS', (9.92,23.46), layer=15, texttype=20))
resistorbank.add(gdstk.Label('VSS', (9.92,27.212), layer=15, texttype=20))
resistorbank.add(gdstk.Label('VCM', (6.141,4.62), layer=46, texttype=20))
resistorbank.add(gdstk.Label('VCM', (6.141,9.622), layer=46, texttype=20))
resistorbank.add(gdstk.Label('VCM', (6.141,14.624), layer=46, texttype=20))
resistorbank.add(gdstk.Label('VCM', (6.141,19.626), layer=46, texttype=20))
resistorbank.add(gdstk.Label('VCM', (6.141,24.628), layer=46, texttype=20))

lib.write_gds('ResistorBank.gds')
